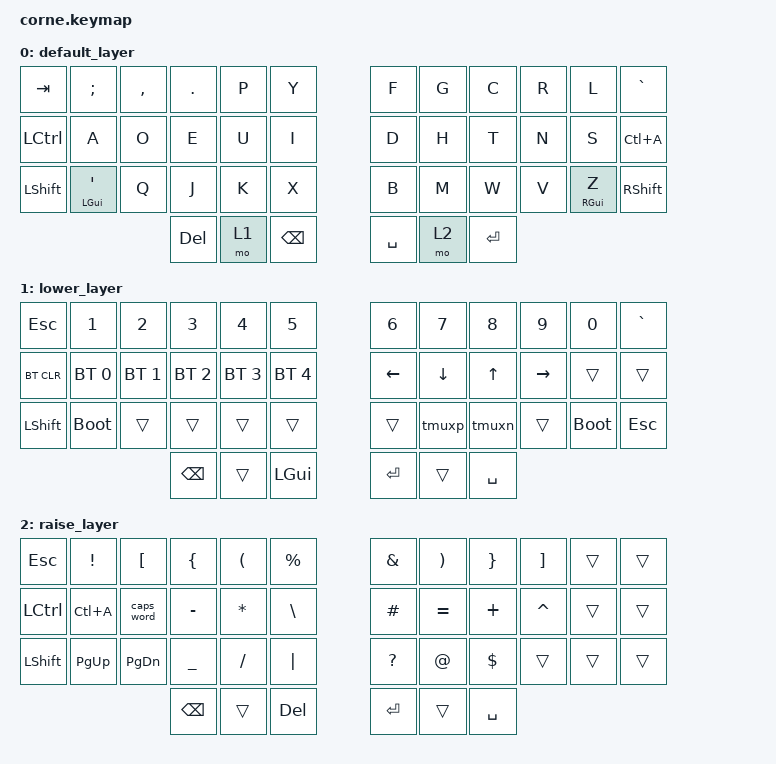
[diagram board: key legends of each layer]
/*
 * Copyright (c) 2020 The ZMK Contributors
 *
 * SPDX-License-Identifier: MIT
 */

#include <behaviors.dtsi>
#include <dt-bindings/zmk/keys.h>
#include <dt-bindings/zmk/bt.h>

/ {
  behaviors {
        hml: home_row_mod_left {
            compatible = "zmk,behavior-hold-tap";
            #binding-cells = <2>;
            flavor = "balanced";
            require-prior-idle-ms = <150>;
            tapping-term-ms = <250>;
            quick-tap-ms = <175>;
            bindings = <&kp>, <&kp>;
            hold-trigger-key-positions =  <6 7 8 9 10 11 18 19 20 21 22 23 30 31 32 33 34 35 36 37 38 39 40 41>; // List of keys on the right side of the keyboard
        };
        hmr: home_row_mod_right {
            compatible = "zmk,behavior-hold-tap";
            #binding-cells = <2>;
            flavor = "balanced";
            require-prior-idle-ms = <150>;
            tapping-term-ms = <250>;
            quick-tap-ms = <175>;
            bindings = <&kp>, <&kp>;
            hold-trigger-key-positions =  <0 1 2 3 4 5 12 13 14 15 16 17 24 25 26 27 28 29 36 37 38 39 40 41>; // List of keys on the left side of the keyboard
        };
        hsl: home_row_shift_left {
            compatible = "zmk,behavior-hold-tap";
            #binding-cells = <2>;
            flavor = "balanced";
            require-prior-idle-ms = <100>;
            tapping-term-ms = <250>;
            quick-tap-ms = <175>;
            bindings = <&kp>, <&kp>;
            hold-trigger-key-positions =  <6 7 8 9 10 11 18 19 20 21 22 23 30 31 32 33 34 35 36 37 38 39 40 41>; // List of keys on the right side of the keyboard
        };
        hsr: home_row_shift_right {
            compatible = "zmk,behavior-hold-tap";
            #binding-cells = <2>;
            flavor = "balanced";
            require-prior-idle-ms = <100>;
            tapping-term-ms = <250>;
            quick-tap-ms = <175>;
            bindings = <&kp>, <&kp>;
            hold-trigger-key-positions =  <0 1 2 3 4 5 12 13 14 15 16 17 24 25 26 27 28 29 36 37 38 39 40 41>; // List of keys on the left side of the keyboard
        };
    };
   macros {
                tmuxn: tmuxn {
                        compatible     = "zmk,behavior-macro";
                        #binding-cells = <0>;
                        bindings       = <&kp LC(A) &kp N>;
                };
                tmuxp: tmuxp {
                        compatible     = "zmk,behavior-macro";
                        #binding-cells = <0>;
                        bindings       = <&kp LC(A) &kp P>;
                };
   };
/* | 0 TAB | 1 ;  | 2 ,  | 3 .  | 4 P  | 5 Y  |   | 6 F  | 7 G  | 8 C  | 9 R  |10 L  |11 `   | */
/* |12 CTRL|13 A  |14 O  |15 E  |16 U  |17 I  |   |18 D  |19 H  |20 T  |21 N  |22 S  |23 tmux| */
/* |24 SHFT|25 '  |26 Q  |27 J  |28 K  |29 X  |   |30 B  |31 M  |32 W  |33 V  |34 Z  |35 SHFT| */
/*                 |36 DEL|37 LWR|38 BSPC|  |39 SPC|40 RSE|41 ENT| */
   /* combos { */
   /*      compatible = "zmk,combos"; */
   /*      combo_rshft { */
   /*          timeout-ms = <40>; */
   /*          key-positions = <19 20>; */
   /*          bindings = <&kp RSHFT>; */
   /*          require-prior-idle-ms = <100>; */
   /*          slow-release; */
   /*      }; */
   /*      combo_lshft { */
   /*          timeout-ms = <40>; */
   /*          key-positions = <15 16>; */
   /*          bindings = <&kp RSHFT>; */
   /*          slow-release; */
   /*          require-prior-idle-ms = <100>; */
   /*      }; */
   /*  }; */
        keymap {
                compatible                 = "zmk,keymap";

                default_layer {
// -----------------------------------------------------------------------------------------
// |  TAB |  ;  |  ,  |  .  |  P  |  Y  |   |  F  |  G   |  C  |  R  |  L  |  `   |
// | CTRL |  A  |  O  |  E  |  U  |  I  |   |  D  |  H   |  T  |  N  |  S  | tmux |
// | SHFT |  '  |  Q  |  J  |  K  |  X  |   |  B  |  M   |  W  |  V  |  Z  | SHFT |
//                    | DEL | LWR | BSPC|   | SPC | RSE  | ENT |
                        bindings = <
   &kp TAB   &kp SEMI  &kp COMMA &kp DOT &kp P &kp Y         &kp F &kp G  &kp C &kp R &kp L     &kp GRAVE
   &kp LCTRL &kp A     &kp O     &kp E   &kp U &kp I         &kp D &kp H  &kp T &kp N &kp S     &kp LC(A)
   &kp LSHFT &hml LGUI SQT   &kp Q     &kp J   &kp K &kp X         &kp B &kp M  &kp W &kp V &hmr RGUI Z     &kp RSHFT
                    &kp DEL &mo 1 &kp BSPC                  &kp SPACE &mo 2 &kp RET
                        >;
                };
                lower_layer {
// -----------------------------------------------------------------------------------------
// |  ESC |  1  |  2  |  3  |  4  |  5  |   |  6  |  7  |  8  |  9  |  0  |  `   |
// | BTCLR| BT1 | BT2 | BT3 | BT4 | BT5 |   | LFT | DWN |  UP | RGT |     |      |
// | SHFT |BOOTL|     |     |     |     |   |     |tmuxp|tmuxn|     |BOOTL| ESC  |
//                    | BSPC|     | GUI |   | ENT |     | SPC |
                        bindings = <
   &kp ESC    &kp N1       &kp N2       &kp N3       &kp N4       &kp N5         &kp N6   &kp N7   &kp N8 &kp N9    &kp N0      &kp GRAVE
   &bt BT_CLR &bt BT_SEL 0 &bt BT_SEL 1 &bt BT_SEL 2 &bt BT_SEL 3 &bt BT_SEL 4   &kp LEFT &kp DOWN &kp UP &kp RIGHT &trans      &trans
   &kp LSHFT  &bootloader  &trans       &trans       &trans       &trans         &trans   &tmuxp   &tmuxn &trans    &bootloader &kp ESC
                                    &kp BSPC     &trans       &kp LGUI       &kp RET &trans  &kp SPACE
                        >;
                };

                raise_layer {
// -----------------------------------------------------------------------------------------
// |  ESC |  !  |  [  |  {  |  (  |  %  |   |  &  |  )  |  }  |  ]  |     |      |
// | CTRL | tmux|     |  -  |  *  |  \  |   |  #  |  =  |  +  |  ^  |     |      |
// | SHFT |     |     |  _  |  /  | "|" |   |     |  @  |  $  |     |     |      |
//                    | BSPC|     | DEL |   | ENT |     | SPC |
                        bindings = <
   &kp  ESC  &kp EXCL &kp LBKT &kp LBRC  &kp LPAR  &kp PRCNT        &kp AMPS &kp RPAR  &kp RBRC &kp RBKT &trans &trans
   &kp LCTRL &kp LC(A)   &caps_word   &kp MINUS &kp ASTRK  &kp BSLH        &kp HASH &kp EQUAL &kp PLUS    &kp CARET   &trans   &trans
   &kp LSHFT &kp PG_UP   &kp PG_DN &kp UNDER  &kp FSLH  &kp PIPE            &kp QMARK &kp AT  &kp DLLR    &trans   &trans   &trans
                             &kp BSPC &trans   &kp DEL             &kp RET &trans    &kp SPACE
                        >;
                };
        };
};

